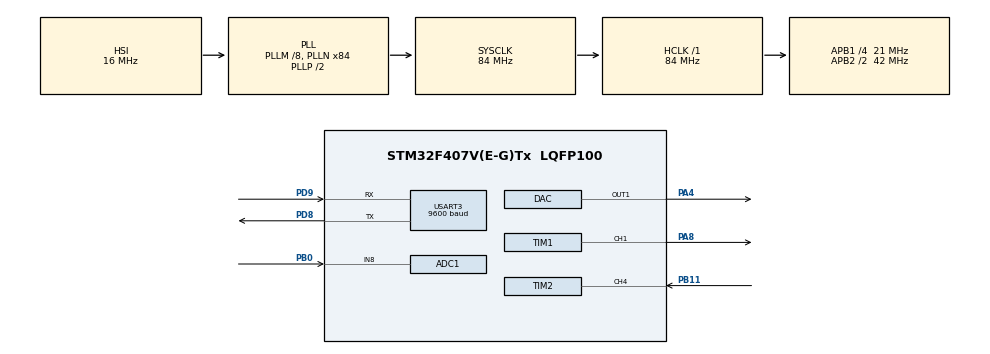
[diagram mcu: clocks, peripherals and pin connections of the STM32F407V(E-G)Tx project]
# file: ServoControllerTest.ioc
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ADC1.Channel-2\#ChannelRegularConversion=ADC_CHANNEL_8
ADC1.NbrOfConversionFlag=1
ADC1.Rank-2\#ChannelRegularConversion=1
ADC1.SamplingTime-2\#ChannelRegularConversion=ADC_SAMPLETIME_3CYCLES
ADC1.master=1
Mcu.Family=STM32F4
Mcu.Name=STM32F407V(E-G)Tx
Mcu.Package=LQFP100
NVIC.PriorityGroup=NVIC_PRIORITYGROUP_4
NVIC.TIM2_IRQn=true\:0\:0\:false\:false\:true\:true\:true
NVIC.USART3_IRQn=true\:0\:0\:false\:false\:true\:true\:true
PA4.Signal=SharedAnalog_PA4
PA8.Signal=S_TIM1_CH1
PB0.Signal=ADCx_IN8
PB11.Signal=S_TIM2_CH4
PD8.Mode=Asynchronous
PD8.Signal=USART3_TX
PD9.Mode=Asynchronous
PD9.Signal=USART3_RX
ProjectManager.HeapSize=0x200
ProjectManager.StackSize=0x400
ProjectManager.TargetToolchain=MDK-ARM V5
RCC.48MHZClocksFreq_Value=42000000
RCC.AHBFreq_Value=84000000
RCC.APB1CLKDivider=RCC_HCLK_DIV4
RCC.APB1Freq_Value=21000000
RCC.APB1TimFreq_Value=42000000
RCC.APB2CLKDivider=RCC_HCLK_DIV2
RCC.APB2Freq_Value=42000000
RCC.APB2TimFreq_Value=84000000
RCC.CortexFreq_Value=84000000
RCC.HCLKFreq_Value=84000000
RCC.HSE_VALUE=25000000
RCC.HSI_VALUE=16000000
RCC.LSE_VALUE=32768
RCC.PLLM=8
RCC.PLLN=84
RCC.SYSCLKFreq_VALUE=84000000
RCC.SYSCLKSource=RCC_SYSCLKSOURCE_PLLCLK
RCC.VCOOutputFreq_Value=168000000
SH.ADCx_IN8.0=ADC1_IN8,IN8
SH.S_TIM1_CH1.0=TIM1_CH1,PWM Generation1 CH1
SH.S_TIM2_CH4.0=TIM2_CH4,Input_Capture4_from_TI4
SH.SharedAnalog_PA4.0=GPIO_Analog
SH.SharedAnalog_PA4.1=DAC_OUT1,DAC_OUT1
TIM1.Channel-PWM\ Generation1\ CH1=TIM_CHANNEL_1
TIM1.Period=999
TIM1.Prescaler=84
TIM1.Pulse-PWM\ Generation1\ CH1=0
TIM2.AutoReloadPreload=TIM_AUTORELOAD_PRELOAD_ENABLE
TIM2.Channel-Input_Capture4_from_TI4=TIM_CHANNEL_4
TIM2.ICPolarity_CH4=TIM_INPUTCHANNELPOLARITY_RISING
TIM2.Period=65535
TIM2.Prescaler=42
USART3.BaudRate=9600
USART3.VirtualMode=VM_ASYNC
VP_TIM1_VS_ClockSourceINT.Mode=Internal
board=custom

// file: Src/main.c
/* USER CODE BEGIN Header */
/**
  ******************************************************************************
  * @file           : main.c
  * @brief          : Main program body
  ******************************************************************************
  * @attention
  *
  * <h2><center>&copy; Copyright (c) 2019 STMicroelectronics.
  * All rights reserved.</center></h2>
  *
  * This software component is licensed by ST under BSD 3-Clause license,
  * the "License"; You may not use this file except in compliance with the
  * License. You may obtain a copy of the License at:
  *                        opensource.org/licenses/BSD-3-Clause
  *
  ******************************************************************************
  */
/* USER CODE END Header */

#include "main.h"

/* USER CODE BEGIN Includes */
#include <stdio.h>
#include <string.h>
/* USER CODE END Includes */

/* USER CODE BEGIN PM */
uint16_t Value;
/* USER CODE END PM */

ADC_HandleTypeDef hadc1;

DAC_HandleTypeDef hdac;

TIM_HandleTypeDef htim1;
TIM_HandleTypeDef htim2;

UART_HandleTypeDef huart3;

void SystemClock_Config(void);
static void MX_GPIO_Init(void);
static void MX_TIM1_Init(void);
static void MX_TIM2_Init(void);
static void MX_ADC1_Init(void);
static void MX_DAC_Init(void);
static void MX_USART3_UART_Init(void);

/* USER CODE BEGIN 0 */
int fputc(int ch, FILE *f)
{
  return ITM_SendChar(ch);
}
/* USER CODE END 0 */

int main(void)
{

  /* MCU Configuration--------------------------------------------------------*/

  /* Reset of all peripherals, Initializes the Flash interface and the Systick. */
  HAL_Init();

  /* Configure the system clock */
  SystemClock_Config();

  /* Initialize all configured peripherals */
  MX_GPIO_Init();
  MX_TIM1_Init();
  MX_TIM2_Init();
  MX_ADC1_Init();
  MX_DAC_Init();
  MX_USART3_UART_Init();
  /* USER CODE BEGIN 2 */
  HAL_TIM_Base_Start(&htim1);
  HAL_TIM_PWM_Start(&htim1,TIM_CHANNEL_1);
  HAL_TIM_Base_Start(&htim2);
  HAL_TIM_IC_Start_IT(&htim2, TIM_CHANNEL_4);
  /* USER CODE END 2 */

  /* Infinite loop */
  while (1)
  {

    /* USER CODE BEGIN 3 */
    HAL_Delay(1000);
    uint16_t period = 1999;
    __HAL_TIM_SET_AUTORELOAD(&htim1, period);
    __HAL_TIM_SET_COMPARE(&htim1, TIM_CHANNEL_1, period/4);
    printf("Value: %d\n", Value);
// #1
		HAL_DAC_SetValue(&hdac, DAC_CHANNEL_1, DAC_ALIGN_12B_R, 2000);
    HAL_DAC_Start(&hdac, DAC_CHANNEL_1);
    HAL_ADC_Start(&hadc1);
    while(HAL_ADC_PollForConversion(&hadc1, 1000));
    uint16_t analogVal = HAL_ADC_GetValue(&hadc1);
    printf("Analog value: %d\n", analogVal);
// #2

    char txt[] = "Hello";
    static char Buffer[20];
    HAL_UART_Transmit_IT(&huart3, txt, strlen(txt));
    HAL_UART_Receive_IT(&huart3, Buffer, 5);
    printf("Text: %s, %s\n", txt, Buffer);
  }
  /* USER CODE END 3 */
}

void SystemClock_Config(void)
{
  RCC_OscInitTypeDef RCC_OscInitStruct = {0};
  RCC_ClkInitTypeDef RCC_ClkInitStruct = {0};

  /** Configure the main internal regulator output voltage
  */
  __HAL_RCC_PWR_CLK_ENABLE();
  __HAL_PWR_VOLTAGESCALING_CONFIG(PWR_REGULATOR_VOLTAGE_SCALE1);
  /** Initializes the CPU, AHB and APB busses clocks
  */
  RCC_OscInitStruct.OscillatorType = RCC_OSCILLATORTYPE_HSI;
  RCC_OscInitStruct.HSIState = RCC_HSI_ON;
  RCC_OscInitStruct.HSICalibrationValue = RCC_HSICALIBRATION_DEFAULT;
  RCC_OscInitStruct.PLL.PLLState = RCC_PLL_ON;
  RCC_OscInitStruct.PLL.PLLSource = RCC_PLLSOURCE_HSI;
  RCC_OscInitStruct.PLL.PLLM = 8;
  RCC_OscInitStruct.PLL.PLLN = 84;
  RCC_OscInitStruct.PLL.PLLP = RCC_PLLP_DIV2;
  RCC_OscInitStruct.PLL.PLLQ = 4;
  if (HAL_RCC_OscConfig(&RCC_OscInitStruct) != HAL_OK)
  {
    Error_Handler();
  }
  /** Initializes the CPU, AHB and APB busses clocks
  */
  RCC_ClkInitStruct.ClockType = RCC_CLOCKTYPE_HCLK|RCC_CLOCKTYPE_SYSCLK
                              |RCC_CLOCKTYPE_PCLK1|RCC_CLOCKTYPE_PCLK2;
  RCC_ClkInitStruct.SYSCLKSource = RCC_SYSCLKSOURCE_PLLCLK;
  RCC_ClkInitStruct.AHBCLKDivider = RCC_SYSCLK_DIV1;
  RCC_ClkInitStruct.APB1CLKDivider = RCC_HCLK_DIV4;
  RCC_ClkInitStruct.APB2CLKDivider = RCC_HCLK_DIV2;

  if (HAL_RCC_ClockConfig(&RCC_ClkInitStruct, FLASH_LATENCY_2) != HAL_OK)
  {
    Error_Handler();
  }
}

static void MX_ADC1_Init(void)
{

  ADC_ChannelConfTypeDef sConfig = {0};

  /** Configure the global features of the ADC (Clock, Resolution, Data Alignment and number of conversion)
  */
  hadc1.Instance = ADC1;
  hadc1.Init.ClockPrescaler = ADC_CLOCK_SYNC_PCLK_DIV2;
  hadc1.Init.Resolution = ADC_RESOLUTION_12B;
  hadc1.Init.ScanConvMode = DISABLE;
  hadc1.Init.ContinuousConvMode = DISABLE;
  hadc1.Init.DiscontinuousConvMode = DISABLE;
  hadc1.Init.ExternalTrigConvEdge = ADC_EXTERNALTRIGCONVEDGE_NONE;
  hadc1.Init.ExternalTrigConv = ADC_SOFTWARE_START;
  hadc1.Init.DataAlign = ADC_DATAALIGN_RIGHT;
  hadc1.Init.NbrOfConversion = 1;
  hadc1.Init.DMAContinuousRequests = DISABLE;
  hadc1.Init.EOCSelection = ADC_EOC_SINGLE_CONV;
  if (HAL_ADC_Init(&hadc1) != HAL_OK)
  {
    Error_Handler();
  }
  /** Configure for the selected ADC regular channel its corresponding rank in the sequencer and its sample time.
  */
  sConfig.Channel = ADC_CHANNEL_8;
  sConfig.Rank = 1;
  sConfig.SamplingTime = ADC_SAMPLETIME_3CYCLES;
  if (HAL_ADC_ConfigChannel(&hadc1, &sConfig) != HAL_OK)
  {
    Error_Handler();
  }

}

static void MX_DAC_Init(void)
{

  DAC_ChannelConfTypeDef sConfig = {0};

  /** DAC Initialization
  */
  hdac.Instance = DAC;
  if (HAL_DAC_Init(&hdac) != HAL_OK)
  {
    Error_Handler();
  }
  /** DAC channel OUT1 config
  */
  sConfig.DAC_Trigger = DAC_TRIGGER_NONE;
  sConfig.DAC_OutputBuffer = DAC_OUTPUTBUFFER_ENABLE;
  if (HAL_DAC_ConfigChannel(&hdac, &sConfig, DAC_CHANNEL_1) != HAL_OK)
  {
    Error_Handler();
  }

}

static void MX_TIM1_Init(void)
{

  TIM_ClockConfigTypeDef sClockSourceConfig = {0};
  TIM_MasterConfigTypeDef sMasterConfig = {0};
  TIM_OC_InitTypeDef sConfigOC = {0};
  TIM_BreakDeadTimeConfigTypeDef sBreakDeadTimeConfig = {0};

  htim1.Instance = TIM1;
  htim1.Init.Prescaler = 84;
  htim1.Init.CounterMode = TIM_COUNTERMODE_UP;
  htim1.Init.Period = 999;
  htim1.Init.ClockDivision = TIM_CLOCKDIVISION_DIV1;
  htim1.Init.RepetitionCounter = 0;
  htim1.Init.AutoReloadPreload = TIM_AUTORELOAD_PRELOAD_DISABLE;
  if (HAL_TIM_Base_Init(&htim1) != HAL_OK)
  {
    Error_Handler();
  }
  sClockSourceConfig.ClockSource = TIM_CLOCKSOURCE_INTERNAL;
  if (HAL_TIM_ConfigClockSource(&htim1, &sClockSourceConfig) != HAL_OK)
  {
    Error_Handler();
  }
  if (HAL_TIM_PWM_Init(&htim1) != HAL_OK)
  {
    Error_Handler();
  }
  sMasterConfig.MasterOutputTrigger = TIM_TRGO_RESET;
  sMasterConfig.MasterSlaveMode = TIM_MASTERSLAVEMODE_DISABLE;
  if (HAL_TIMEx_MasterConfigSynchronization(&htim1, &sMasterConfig) != HAL_OK)
  {
    Error_Handler();
  }
  sConfigOC.OCMode = TIM_OCMODE_PWM1;
  sConfigOC.Pulse = 0;
  sConfigOC.OCPolarity = TIM_OCPOLARITY_HIGH;
  sConfigOC.OCNPolarity = TIM_OCNPOLARITY_HIGH;
  sConfigOC.OCFastMode = TIM_OCFAST_DISABLE;
  sConfigOC.OCIdleState = TIM_OCIDLESTATE_RESET;
  sConfigOC.OCNIdleState = TIM_OCNIDLESTATE_RESET;
  if (HAL_TIM_PWM_ConfigChannel(&htim1, &sConfigOC, TIM_CHANNEL_1) != HAL_OK)
  {
    Error_Handler();
  }
  sBreakDeadTimeConfig.OffStateRunMode = TIM_OSSR_DISABLE;
  sBreakDeadTimeConfig.OffStateIDLEMode = TIM_OSSI_DISABLE;
  sBreakDeadTimeConfig.LockLevel = TIM_LOCKLEVEL_OFF;
  sBreakDeadTimeConfig.DeadTime = 0;
  sBreakDeadTimeConfig.BreakState = TIM_BREAK_DISABLE;
  sBreakDeadTimeConfig.BreakPolarity = TIM_BREAKPOLARITY_HIGH;
  sBreakDeadTimeConfig.AutomaticOutput = TIM_AUTOMATICOUTPUT_DISABLE;
  if (HAL_TIMEx_ConfigBreakDeadTime(&htim1, &sBreakDeadTimeConfig) != HAL_OK)
  {
    Error_Handler();
  }
  HAL_TIM_MspPostInit(&htim1);

}

static void MX_TIM2_Init(void)
{

  TIM_MasterConfigTypeDef sMasterConfig = {0};
  TIM_IC_InitTypeDef sConfigIC = {0};

  htim2.Instance = TIM2;
  htim2.Init.Prescaler = 42;
  htim2.Init.CounterMode = TIM_COUNTERMODE_UP;
  htim2.Init.Period = 65535;
  htim2.Init.ClockDivision = TIM_CLOCKDIVISION_DIV1;
  htim2.Init.AutoReloadPreload = TIM_AUTORELOAD_PRELOAD_ENABLE;
  if (HAL_TIM_IC_Init(&htim2) != HAL_OK)
  {
    Error_Handler();
  }
  sMasterConfig.MasterOutputTrigger = TIM_TRGO_RESET;
  sMasterConfig.MasterSlaveMode = TIM_MASTERSLAVEMODE_DISABLE;
  if (HAL_TIMEx_MasterConfigSynchronization(&htim2, &sMasterConfig) != HAL_OK)
  {
    Error_Handler();
  }
  sConfigIC.ICPolarity = TIM_INPUTCHANNELPOLARITY_RISING;
  sConfigIC.ICSelection = TIM_ICSELECTION_DIRECTTI;
  sConfigIC.ICPrescaler = TIM_ICPSC_DIV1;
  sConfigIC.ICFilter = 0;
  if (HAL_TIM_IC_ConfigChannel(&htim2, &sConfigIC, TIM_CHANNEL_4) != HAL_OK)
  {
    Error_Handler();
  }

}

static void MX_USART3_UART_Init(void)
{

  huart3.Instance = USART3;
  huart3.Init.BaudRate = 9600;
  huart3.Init.WordLength = UART_WORDLENGTH_8B;
  huart3.Init.StopBits = UART_STOPBITS_1;
  huart3.Init.Parity = UART_PARITY_NONE;
  huart3.Init.Mode = UART_MODE_TX_RX;
  huart3.Init.HwFlowCtl = UART_HWCONTROL_NONE;
  huart3.Init.OverSampling = UART_OVERSAMPLING_16;
  if (HAL_UART_Init(&huart3) != HAL_OK)
  {
    Error_Handler();
  }

}

static void MX_GPIO_Init(void)
{
  GPIO_InitTypeDef GPIO_InitStruct = {0};

  /* GPIO Ports Clock Enable */
  __HAL_RCC_GPIOA_CLK_ENABLE();
  __HAL_RCC_GPIOB_CLK_ENABLE();
  __HAL_RCC_GPIOD_CLK_ENABLE();

  /*Configure GPIO pin : PA4 */
  GPIO_InitStruct.Pin = GPIO_PIN_4;
  GPIO_InitStruct.Mode = GPIO_MODE_ANALOG;
  GPIO_InitStruct.Pull = GPIO_NOPULL;
  HAL_GPIO_Init(GPIOA, &GPIO_InitStruct);

}

/* USER CODE BEGIN 4 */
void HAL_TIM_IC_CaptureCallback (TIM_HandleTypeDef *htim)
{
  extern uint16_t Value;
  Value = __HAL_TIM_GetCompare(htim, TIM_CHANNEL_4);
  //Value = HAL_TIM_ReadCapturedValue(htim, TIM_CHANNEL_4);
  __HAL_TIM_SetCounter(htim, 0);
}

void HAL_USART_RxCpltCallback(UART_HandleTypeDef *huart)
{
}
/* USER CODE END 4 */

void Error_Handler(void)
{
}

/************************ (C) COPYRIGHT STMicroelectronics *****END OF FILE****/
